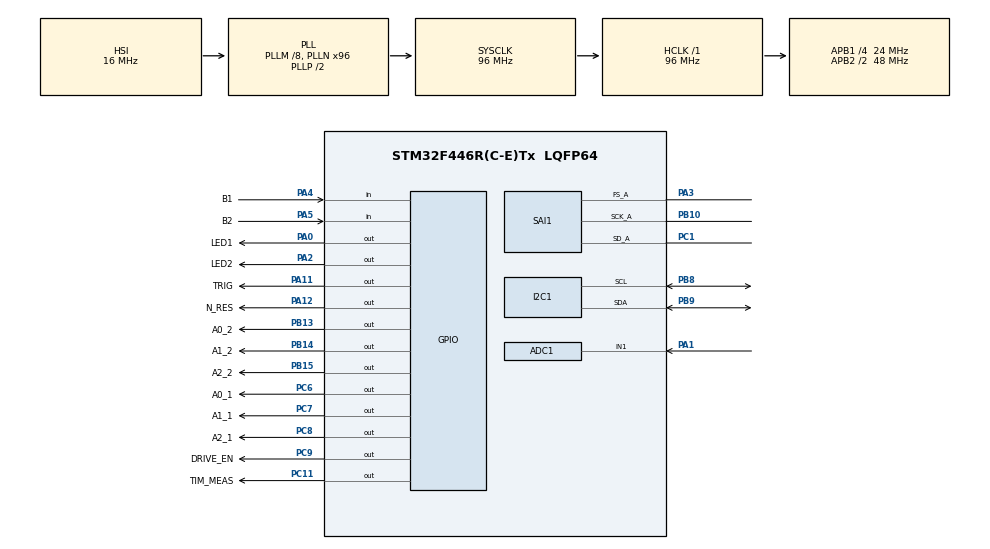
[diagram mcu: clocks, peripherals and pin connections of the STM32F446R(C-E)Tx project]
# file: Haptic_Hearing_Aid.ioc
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ADC1.Channel-1\#ChannelRegularConversion=ADC_CHANNEL_1
ADC1.NbrOfConversionFlag=1
ADC1.Rank-1\#ChannelRegularConversion=1
ADC1.SamplingTime-1\#ChannelRegularConversion=ADC_SAMPLETIME_3CYCLES
ADC1.master=1
Dma.Request0=SAI1_A
Dma.SAI1_A.0.Direction=DMA_PERIPH_TO_MEMORY
Dma.SAI1_A.0.FIFOMode=DMA_FIFOMODE_DISABLE
Dma.SAI1_A.0.Instance=DMA2_Stream1
Dma.SAI1_A.0.MemDataAlignment=DMA_MDATAALIGN_WORD
Dma.SAI1_A.0.MemInc=DMA_MINC_ENABLE
Dma.SAI1_A.0.Mode=DMA_CIRCULAR
Dma.SAI1_A.0.PeriphDataAlignment=DMA_PDATAALIGN_WORD
Dma.SAI1_A.0.PeriphInc=DMA_PINC_DISABLE
Dma.SAI1_A.0.Priority=DMA_PRIORITY_LOW
I2C1.DutyCycle=I2C_DUTYCYCLE_16_9
I2C1.I2C_Mode=I2C_Fast
Mcu.Family=STM32F4
Mcu.Name=STM32F446R(C-E)Tx
Mcu.Package=LQFP64
NVIC.DMA2_Stream1_IRQn=true\:0\:0\:false\:false\:true\:false\:true\:true
NVIC.PriorityGroup=NVIC_PRIORITYGROUP_4
NVIC.TIM7_IRQn=true\:3\:0\:true\:false\:true\:true\:true\:true
PA0-WKUP.GPIO_Label=LED1
PA0-WKUP.Signal=GPIO_Output
PA1.Signal=ADCx_IN1
PA11.GPIO_Label=TRIG
PA11.GPIO_PuPd=GPIO_NOPULL
PA11.Signal=GPIO_Output
PA12.GPIO_Label=N_RES
PA12.GPIO_ModeDefaultOutputPP=GPIO_MODE_OUTPUT_PP
PA12.GPIO_PuPd=GPIO_NOPULL
PA12.Signal=GPIO_Output
PA2.GPIO_Label=LED2
PA2.Signal=GPIO_Output
PA3.Mode=SAI_A_Master
PA3.Signal=SAI1_FS_A
PA4.GPIO_Label=B1
PA4.GPIO_PuPd=GPIO_PULLDOWN
PA4.Signal=GPIO_Input
PA5.GPIO_Label=B2
PA5.GPIO_PuPd=GPIO_PULLDOWN
PA5.Signal=GPIO_Input
PB10.Mode=SAI_A_Master
PB10.Signal=SAI1_SCK_A
PB13.GPIO_Label=A0_2
PB13.Signal=GPIO_Output
PB14.GPIO_Label=A1_2
PB14.Signal=GPIO_Output
PB15.GPIO_Label=A2_2
PB15.Signal=GPIO_Output
PB8.GPIO_Pu=GPIO_PULLUP
PB8.Mode=I2C
PB8.Signal=I2C1_SCL
PB9.GPIO_Pu=GPIO_PULLUP
PB9.Mode=I2C
PB9.Signal=I2C1_SDA
PC1.Mode=SAI_A_Master
PC1.Signal=SAI1_SD_A
PC11.GPIO_Label=TIM_MEAS
PC11.Signal=GPIO_Output
PC6.GPIO_Label=A0_1
PC6.Signal=GPIO_Output
PC7.GPIO_Label=A1_1
PC7.Signal=GPIO_Output
PC8.GPIO_Label=A2_1
PC8.Signal=GPIO_Output
PC9.GPIO_Label=DRIVE_EN
PC9.GPIO_PuPd=GPIO_NOPULL
PC9.Signal=GPIO_Output
ProjectManager.HeapSize=0x200
ProjectManager.StackSize=0x400
ProjectManager.TargetToolchain=STM32CubeIDE
RCC.AHBFreq_Value=96000000
RCC.APB1CLKDivider=RCC_HCLK_DIV4
RCC.APB1Freq_Value=24000000
RCC.APB1TimFreq_Value=48000000
RCC.APB2CLKDivider=RCC_HCLK_DIV2
RCC.APB2Freq_Value=48000000
RCC.APB2TimFreq_Value=96000000
RCC.CortexFreq_Value=96000000
RCC.HCLKFreq_Value=96000000
RCC.PLLI2SM=8
RCC.PLLI2SN=50
RCC.PLLI2SR=3
RCC.PLLM=8
RCC.PLLN=96
RCC.PLLSAIM=8
RCC.PLLSAIN=123
RCC.PLLSAIQ=15
RCC.SYSCLKFreq_VALUE=96000000
RCC.SYSCLKSource=RCC_SYSCLKSOURCE_PLLCLK
RCC.USBFreq_Value=96000000
RCC.VCOOutputFreq_Value=192000000
SAI1.AudioFrequency-SAI_A_Master=SAI_AUDIO_FREQUENCY_16K
SAI1.AudioMode-SAI_A_Master=SAI_MODEMASTER_RX
SAI1.BasicDataSize-SAI_A_Master=SAI_PROTOCOL_DATASIZE_32BIT
SAI1.BasicProtocol-SAI_A_Master=SAI_I2S_STANDARD
SAI1.CompandingMode-SAI_A_Master=SAI_NOCOMPANDING
SAI1.ErrorAudioFreq-SAI_A_Master=0.09 %
SAI1.InitProtocol-SAI_A_Master=Enable
SAI1.Instance-SAI_A_Master=SAI$Index_Block_A
SAI1.MClockEnable-SAI_A_Master=SAI_MASTERCLOCK_DISABLE
SAI1.MonoStereoMode-SAI_A_Master=SAI_STEREOMODE
SAI1.NoDivider-SAI_A_Master=SAI_MASTERDIVIDER_ENABLE
SAI1.RealAudioFreq-SAI_A_Master=16.015 KHz
SAI1.VirtualMode-SAI_A_Master=VM_MASTER
SAI1.VirtualProtocol-SAI_A_BASIC=VM_BASIC_PROTOCOL
SH.ADCx_IN1.0=ADC1_IN1,IN1
TIM7.AutoReloadPreload=TIM_AUTORELOAD_PRELOAD_ENABLE
TIM7.Period=999
TIM7.Prescaler=9599
TIM7.TIM_MasterOutputTrigger=TIM_TRGO_UPDATE
VP_SAI1_VP_$IpInstance_SAIA_SAI_BASIC.Mode=SAI_A_BASIC
VP_TIM7_VS_ClockSourceINT.Mode=Enable_Timer
board=custom

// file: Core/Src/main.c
/* USER CODE BEGIN Header */
/**
  ******************************************************************************
  * @file           : main.c
  * @brief          : Main program body
  ******************************************************************************
  * @attention
  *
  * Copyright (c) 2025 STMicroelectronics.
  * All rights reserved.
  *
  * This software is licensed under terms that can be found in the LICENSE file
  * in the root directory of this software component.
  * If no LICENSE file comes with this software, it is provided AS-IS.
  *
  ******************************************************************************
  */
/* USER CODE END Header */
#include "main.h"
#include "adc.h"
#include "dma.h"
#include "i2c.h"
#include "sai.h"
#include "tim.h"
#include "gpio.h"

/* USER CODE BEGIN Includes */
#include "Driver_Driver.h"
#include "math.h"
#include <stdio.h>
#include "audio.h"
// #include "audio.h"
/* USER CODE END Includes */

/* USER CODE BEGIN PV */
FlagStatus TimCollapsed = RESET;
FlagStatus Data_Arrived_First_Half = RESET;
FlagStatus Data_Arrived_Second_Half = RESET;
FlagStatus Data_Arrived = RESET;
#define NUM_ACTUATORS 16

#define NUM_SAMPLES 512 // leads to 32ms
#define DMA_BUFFER_SIZE 2048 // = 4*NUM_SAMPLES (left right, and stops at half)

#define NUM_FREQ_BANDS 8 // Number of frequency bands

uint32_t rawdata[DMA_BUFFER_SIZE] = {0};

double t_sample = 0.0003; // 300us
uint16_t freq = 180; // 180 Hz (new actuator)
double sinus_sampletime = 0.0001; //100us

float fftSignal[NUM_SAMPLES];
float WindowedSignal[NUM_SAMPLES];

/* USER CODE END PV */

void SystemClock_Config(void);
/* USER CODE BEGIN PFP */
void generate_ramp(double *ramp, uint8_t maxvalue, uint8_t numValues);
void ramp_set(double *ramp, double *amplitudes, uint8_t counter, uint8_t numvalues);
//extern void initialise_monitor_handles(void); // for semihosting
void DWT_Init(void);
void delay_us(uint32_t us);

int __io_putchar(int ch) {
    return fputc(ch, stdout); // Semihosting handles this
}
/* USER CODE END PFP */

int main(void)
{

  /* MCU Configuration--------------------------------------------------------*/

  /* Reset of all peripherals, Initializes the Flash interface and the Systick. */
  HAL_Init();

  /* Configure the system clock */
  SystemClock_Config();

  /* Initialize all configured peripherals */
  MX_GPIO_Init();
  MX_DMA_Init();
  MX_I2C1_Init();
  MX_TIM7_Init();
  MX_ADC1_Init();
  MX_SAI1_Init();
  /* USER CODE BEGIN 2 */

 init_drivers();
 DWT_Init();

	uint8_t numValues = 80;
	uint8_t maxValue = 0x5B; // 2.3V RMS

	double amplitudes[NUM_ACTUATORS] = {0};
	uint8_t counter = 0;
	int32_t audioData_left[NUM_SAMPLES];
	int32_t audioData_right[NUM_SAMPLES];

	generateHammingWindow();
	delay_estimator_init();

	uint8_t ready = 0;

	for(int j=0; j<NUM_ACTUATORS; j++){
		amplitudes[j] = 0;
	}

//	// Part for debugging
//	initialise_monitor_handles();
//
//	printf("Semihosting test...\n\r");

	char s[50];
	char *p;
	FILE *fp;
	p = s;

//	HAL_NVIC_EnableIRQ(TIM7_IRQn);
//	HAL_TIM_Base_Start_IT(&htim7);
	HAL_TIM_Base_Start(&htim7);

	HAL_SAI_Receive_DMA(&hsai_BlockA1, (uint32_t *)rawdata, DMA_BUFFER_SIZE);

	HAL_GPIO_WritePin(TRIG_GPIO_Port, TRIG_Pin, RESET);

  /* USER CODE END 2 */

  /* Infinite loop */
  while (1)
  {

    /* USER CODE BEGIN 3 */
	  if(TimCollapsed){
		TimCollapsed = RESET;
	  }

	  if(ready!=0){
		  // clear actual waveform with falling edge
		  HAL_GPIO_WritePin(TRIG_GPIO_Port, TRIG_Pin, RESET);
		  delay_us(100);
		  // set new waveform
		  HAL_GPIO_WritePin(TRIG_GPIO_Port, TRIG_Pin, SET);
		  ready = 0;
		  HAL_GPIO_WritePin(TIM_MEAS_GPIO_Port, TIM_MEAS_Pin, RESET);
	  }

	  if(Data_Arrived_First_Half && (ready == 0)){
		  Data_Arrived_First_Half = RESET;
		  HAL_GPIO_WritePin(TIM_MEAS_GPIO_Port, TIM_MEAS_Pin, SET);
		  // Create lock file to have no conflicts with matlab
//		  FILE* lock = fopen("C:\\...\\Data_Left.lock", "w");
//		  if (lock) fclose(lock);  // just create and close

//		  fp=fopen("C:\\Users\\franc\\OneDrive\\Dokumente\\MATLAB\\Master_Thesis\\Data_Left.txt", "w");
		  for(int i=0; i<NUM_SAMPLES; i++){
			  // value is stored in four array parts (LSB left, MSB left, LSB right, MSB right)
			  // Sort it and value is 18-bit (MSB) in 2's complement
			  audioData_left[i] = ((int32_t)(rawdata[2*i] << 0)) >> 14;
			  audioData_right[i] = ((int32_t)(rawdata[2*i+1] << 0)) >> 14;
//			  int n= sprintf (p, "%d", (int) audioData_left[i]);
//			  fprintf(fp,p);
//			  fprintf(fp,"\n");
		  }
//		  fclose(fp);

		  process_signal(amplitudes, audioData_left, audioData_right, fftSignal, WindowedSignal);
		  set_amplitude(amplitudes);
//		  fp=fopen("C:\\Users\\franc\\OneDrive\\Dokumente\\MATLAB\\Master_Thesis\\Data_FFT.txt", "w");
//		  for(int i=0; i<NUM_SAMPLES; i++){
//			  int n= sprintf (p, "%d", (int) fftSignal[i]);
//			  fprintf(fp,p);
//			  fprintf(fp,"\n");
//		  }
//		  fclose(fp);

//		  fp=fopen("C:\\Users\\franc\\OneDrive\\Dokumente\\MATLAB\\Master_Thesis\\Data_Windowed.txt", "w");
//		  for(int i=0; i<NUM_SAMPLES; i++){
//			  int n= sprintf (p, "%d", (int) WindowedSignal[i]);
//			  fprintf(fp,p);
//			  fprintf(fp,"\n");
//		  }
//		  fclose(fp);
		  ready = 1;

		  // Delete lock file as signal for "done writing"
//		   remove("C:\\...\\Data_Left.lock");
	  }

	  if(Data_Arrived_Second_Half && (ready==0)){
		  Data_Arrived_Second_Half = RESET;
		  HAL_GPIO_WritePin(TIM_MEAS_GPIO_Port, TIM_MEAS_Pin, SET);
		  // Create lock file to have no conflicts with matlab
//		  FILE* lock = fopen("C:\\...\\Data_Left.lock", "w");
//		  if (lock) fclose(lock);  // just create and close
		  int offset = DMA_BUFFER_SIZE/2;
//
//		  fp=fopen("C:\\Users\\franc\\OneDrive\\Dokumente\\MATLAB\\Master_Thesis\\Data_Left.txt", "w");
		  for(int i=0; i<NUM_SAMPLES; i++){
//			  // value is stored in four array parts (LSB left, MSB left, LSB right, MSB right)
//			  // Sort it and value is 18-bit (MSB) in 2's complement
			  audioData_left[i] = ((int32_t)(rawdata[2*i + offset] << 0)) >> 14;
			  audioData_right[i] = ((int32_t)(rawdata[2*i+1 + offset] << 0)) >> 14;
//			  int n= sprintf (p, "%d", (int) audioData_left[i]);
//			  fprintf(fp,p);
//			  fprintf(fp,"\n");
		  }
//		  fclose(fp);

		  process_signal(amplitudes, audioData_left, audioData_right, fftSignal, WindowedSignal);
		  set_amplitude(amplitudes);
		  ready = 2;

		  // Delete lock file as signal for "done writing"
//		  remove("C:\\...\\Data_Left.lock");
	  }
  }
  /* USER CODE END 3 */
}

void SystemClock_Config(void)
{
  RCC_OscInitTypeDef RCC_OscInitStruct = {0};
  RCC_ClkInitTypeDef RCC_ClkInitStruct = {0};

  /** Configure the main internal regulator output voltage
  */
  __HAL_RCC_PWR_CLK_ENABLE();
  __HAL_PWR_VOLTAGESCALING_CONFIG(PWR_REGULATOR_VOLTAGE_SCALE3);

  /** Initializes the RCC Oscillators according to the specified parameters
  * in the RCC_OscInitTypeDef structure.
  */
  RCC_OscInitStruct.OscillatorType = RCC_OSCILLATORTYPE_HSI;
  RCC_OscInitStruct.HSIState = RCC_HSI_ON;
  RCC_OscInitStruct.HSICalibrationValue = RCC_HSICALIBRATION_DEFAULT;
  RCC_OscInitStruct.PLL.PLLState = RCC_PLL_ON;
  RCC_OscInitStruct.PLL.PLLSource = RCC_PLLSOURCE_HSI;
  RCC_OscInitStruct.PLL.PLLM = 8;
  RCC_OscInitStruct.PLL.PLLN = 96;
  RCC_OscInitStruct.PLL.PLLP = RCC_PLLP_DIV2;
  RCC_OscInitStruct.PLL.PLLQ = 2;
  RCC_OscInitStruct.PLL.PLLR = 2;
  if (HAL_RCC_OscConfig(&RCC_OscInitStruct) != HAL_OK)
  {
    Error_Handler();
  }

  /** Initializes the CPU, AHB and APB buses clocks
  */
  RCC_ClkInitStruct.ClockType = RCC_CLOCKTYPE_HCLK|RCC_CLOCKTYPE_SYSCLK
                              |RCC_CLOCKTYPE_PCLK1|RCC_CLOCKTYPE_PCLK2;
  RCC_ClkInitStruct.SYSCLKSource = RCC_SYSCLKSOURCE_PLLCLK;
  RCC_ClkInitStruct.AHBCLKDivider = RCC_SYSCLK_DIV1;
  RCC_ClkInitStruct.APB1CLKDivider = RCC_HCLK_DIV4;
  RCC_ClkInitStruct.APB2CLKDivider = RCC_HCLK_DIV2;

  if (HAL_RCC_ClockConfig(&RCC_ClkInitStruct, FLASH_LATENCY_3) != HAL_OK)
  {
    Error_Handler();
  }
}

/* USER CODE BEGIN 4 */

/**
 * @brief		DWT_Init
 *
 * @param       void
 *
 * @return		void
 *
 * @details		function to init delay in us
 *
 *
 * @author		Francis Liechti (FL)
 * @date		28.05.2025	FL	Created
 ****************************************************************************/
void DWT_Init(void) {
    if (!(CoreDebug->DEMCR & CoreDebug_DEMCR_TRCENA_Msk)) {
        CoreDebug->DEMCR |= CoreDebug_DEMCR_TRCENA_Msk;
    }
    DWT->CYCCNT = 0;
    DWT->CTRL |= DWT_CTRL_CYCCNTENA_Msk;
}

/*
 * @brief		delay_us
 *
 * @param       uint32_t us
 *
 * @return		void
 *
 * @details		function to delay in us
 *
 *
 * @author		Francis Liechti (FL)
 * @date		28.05.2025	FL	Created
 ****************************************************************************/
void delay_us(uint32_t us) {
    uint32_t cycles = (SystemCoreClock / 1000000L) * us;
    uint32_t start = DWT->CYCCNT;
    while ((DWT->CYCCNT - start) < cycles);
}

/**
 * @brief		HAL_TIM_PeriodElapsedCallback
 *
 * @param       htim
 *
 * @return		void
 *
 * @details		callback routine for timer interrupt.
 *
 *
 * @author		Francis Liechti (FL)
 * @date		12.03.2025	FL	Created
 ****************************************************************************/
void HAL_TIM_PeriodElapsedCallback(TIM_HandleTypeDef *htim) {
	if(htim->Instance == TIM7){
		TimCollapsed = SET;
	}
}

/**
 * @brief		HAL_GPIO_EXTI_Callback
 *
 * @param       GPIO_Pin
 *
 * @return		void
 *
 * @details		callback routine for GPIO interrupt.
 *
 *
 * @author		Francis Liechti (FL)
 * @date		27.03.2025	FL	Created
 ****************************************************************************/
void HAL_GPIO_EXTI_Callback(uint16_t GPIO_Pin){

}

/**
 * @brief		HAL_ADC_ConvCpltCallback
 *
 * @param       hadc
 *
 * @return		void
 *
 * @details		callback routine for ADC (DMA).
 *
 *
 * @author		Francis Liechti (FL)
 * @date		12.03.2025	FL	Created
 ****************************************************************************/
void HAL_ADC_ConvCpltCallback(ADC_HandleTypeDef* hadc){
}

/**
 * @brief		HAL_SAI_RxCpltCallback
 *
 * @param       hsai
 *
 * @return		void
 *
 * @details		callback routine for SAI (I2S DMA). Gets called when buffer is full
 *
 *
 * @author		Francis Liechti (FL)
 * @date		05.06.2025	FL	Created
 ****************************************************************************/
void HAL_SAI_RxCpltCallback(SAI_HandleTypeDef *hsai){
	if(hsai == &hsai_BlockA1){
		Data_Arrived_Second_Half = SET;
//		HAL_GPIO_WritePin(TIM_MEAS_GPIO_Port, TIM_MEAS_Pin, SET);
	}
}

/**
 * @brief		HAL_SAI_RxHalfCpltCallback
 *
 * @param       hsai
 *
 * @return		void
 *
 * @details		callback routine for SAI (I2S DMA). Gets called when buffer is half full
 *
 *
 * @author		Francis Liechti (FL)
 * @date		05.06.2025	FL	Created
 ****************************************************************************/
void HAL_SAI_RxHalfCpltCallback(SAI_HandleTypeDef *hsai){
	if(hsai == &hsai_BlockA1){
		Data_Arrived_First_Half = SET;
//		HAL_GPIO_WritePin(TIM_MEAS_GPIO_Port, TIM_MEAS_Pin, RESET);
	}
}

/* USER CODE END 4 */

void Error_Handler(void)
{
  __disable_irq();
  while (1)
  {
  }
}
